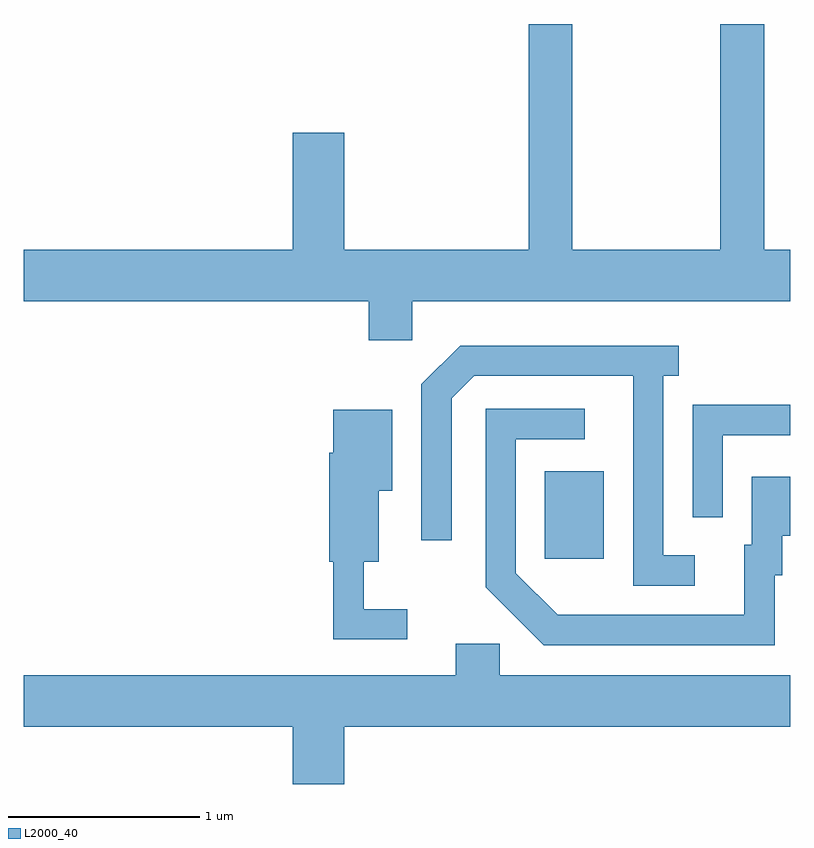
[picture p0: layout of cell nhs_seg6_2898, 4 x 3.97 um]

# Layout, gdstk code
import gdstk
lib = gdstk.Library(unit=1e-6, precision=1e-09)
def R(c, l, rs):  # rectangles x0, y0, x1, y1
    for r in rs: c.add(gdstk.rectangle(r[:2], r[2:], *l))
def P(c, l, *ps):  # polygons
    for p in ps: c.add(gdstk.Polygon(p, *l))
L2000_40 = (2000, 40)

nhs_seg6_2898 = lib.new_cell('nhs_seg6_2898')
R(nhs_seg6_2898, L2000_40, [(276.331,1535.371,276.639,1535.829)])
P(nhs_seg6_2898, L2000_40, [(275.639,1536.716),(277.611,1536.716),(277.611,1536.984),(277.474,1536.984),(277.474,1538.162),(277.246,1538.162),(277.246,1536.984),(276.474,1536.984),(276.474,1538.162),(276.246,1538.162),(276.246,1536.984),(275.284,1536.984),(275.284,1537.594),(275.016,1537.594),(275.016,1536.984),(273.611,1536.984),(273.611,1536.716),(275.411,1536.716),(275.411,1536.511),(275.639,1536.511)],
  [(277.113,1535.389),(276.949,1535.389),(276.949,1536.326),(277.028,1536.326),(277.028,1536.484),(275.889,1536.484),(275.686,1536.282),(275.686,1535.468),(275.844,1535.468),(275.844,1536.209),(275.962,1536.326),(276.791,1536.326),(276.791,1535.231),(277.113,1535.231)],
  [(277.259,1536.016),(277.611,1536.016),(277.611,1536.174),(277.101,1536.174),(277.101,1535.588),(277.259,1535.588)],
  [(277.529,1535.286),(277.569,1535.286),(277.569,1535.491),(277.611,1535.491),(277.611,1535.799),(277.411,1535.799),(277.411,1535.444),(277.371,1535.444),(277.371,1535.079),(276.397,1535.079),(276.179,1535.297),(276.179,1535.996),(276.538,1535.996),(276.538,1536.154),(276.021,1536.154),(276.021,1535.224),(276.324,1534.921),(277.529,1534.921)],
  [(275.613,1535.109),(275.384,1535.109),(275.384,1535.356),(275.464,1535.356),(275.464,1535.726),(275.534,1535.726),(275.534,1536.149),(275.226,1536.149),(275.226,1535.924),(275.206,1535.924),(275.206,1535.356),(275.226,1535.356),(275.226,1534.951),(275.613,1534.951)],
  [(275.284,1534.496),(277.611,1534.496),(277.611,1534.764),(276.094,1534.764),(276.094,1534.929),(275.866,1534.929),(275.866,1534.764),(273.611,1534.764),(273.611,1534.496),(275.016,1534.496),(275.016,1534.196),(275.284,1534.196)])

lib.write_gds('nhs_seg6_2898.gds')
